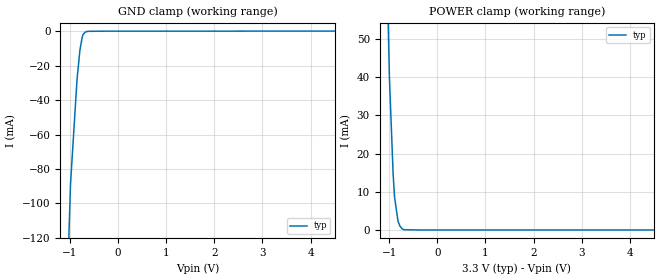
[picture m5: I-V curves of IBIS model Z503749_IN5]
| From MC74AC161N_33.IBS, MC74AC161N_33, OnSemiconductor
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| (C) COPYRIGHT 1993-2000
| MENTOR GRAPHICS CORPORATION
| ICX STANDARD LIBRARY, ICX PROJECT MODELING,
| ICX CUSTOM MODELING, ICX VENDOR MODEL
| ALL RIGHTS RESERVED.
| THE FOLLOWING ARE TRADEMARKS OR SERVICE MARKS OF
| MENTOR GRAPHICS CORPORATION:ICX (R), ICX STANDARD
| LIBRARY(R), ICX PROJECT MODELING(R), ICX CUSTOM
| MODELING(R), qualityIBIS(TM), MODELVIEWER(TM),
| AND MODELEDITOR(TM)
| ALL COPIES OF SOFTWARE, INCLUDING BUT NOT LIMITED TO
| ANY MODIFICATIONS, ENHANCEMENTS OR DERIVATIVE WORKS,
| MUST CONTAIN ALL MENTOR GRAPHICS CORPORATION'S
| NOTICES AND LEGENDS, INCLUDING THOSE EMBEDDED IN
| SOFTWARE AND THOSE AFFIXED TO SOFTWARE MEDIUM
| AND CONTAINER, AS RECEIVED FROM MENTOR GRAPHICS
| CORPORATION.
| Model Application Version 1.89 2/18/99.
[Model] Z503749_IN5
Model_type Input
Vinl = 990.0mV
Vinh = 2.310V
C_comp 4.000pF NA NA
| variable typ   min   max
[Voltage Range] 3.300V NA NA
[GND Clamp Reference] 0.000V NA NA
[POWER Clamp Reference] 3.300V NA NA
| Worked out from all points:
|   GND clamp passes 1 mA (typ) near -0.70 V on its own axis
|   POWER clamp passes 1 mA (typ) near -0.78 V on its own axis
[GND Clamp]
-3.3V     -2.173A    NA         NA
-990.9mV  -88.86mA   NA         NA
-856.9mV  -28.58mA   NA         NA
-796.6mV  -11.1mA    NA         NA
-747.1mV  -3.25mA    NA         NA
-730.7mV  -1.84mA    NA         NA
-687.2mV  -431uA     NA         NA
-610.2mV  76.67uA    NA         NA
-305.1mV  154uA      NA         NA
6.6V      224.9uA    NA         NA
[POWER Clamp]
-3.3V     1.658A     NA         NA
-1.119V   109.5mA    NA         NA
-997mV    40.03mA    NA         NA
-920mV    14.76mA    NA         NA
-890mV    8.632mA    NA         NA
-817mV    2.223mA    NA         NA
-775mV    957.1uA    NA         NA
-737mV    364.7uA    NA         NA
-698mV    67.1uA     NA         NA
-349mV    0A         NA         NA
6.6V      0A         NA         NA
